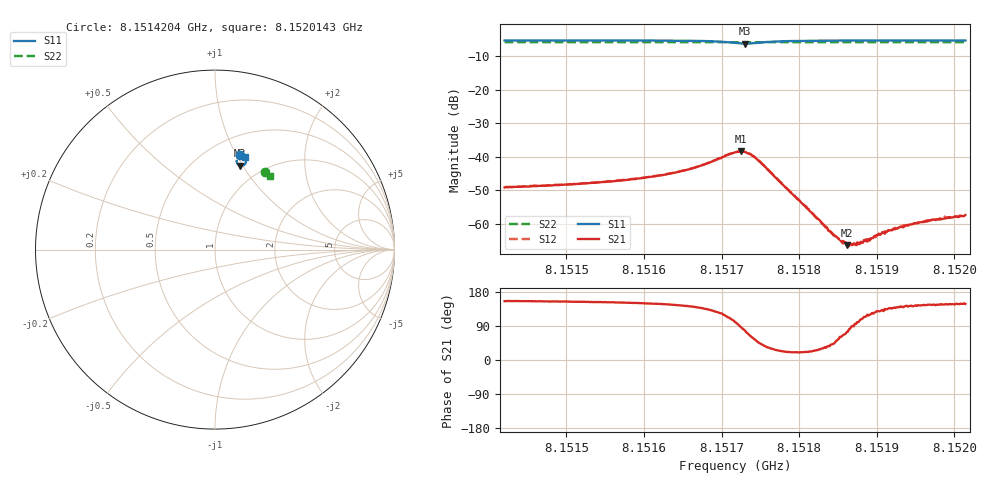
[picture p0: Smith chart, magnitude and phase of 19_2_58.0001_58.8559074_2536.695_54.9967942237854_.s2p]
#  HZ  S  RI  R  50.00
! Rohde & Schwarz Vector Network Analyzer
! Rohde-Schwarz,ZNB20-2Port,1311601062101988,3.16
! Created: UTC 3/21/2024, 12:51:06 AM
! freq[Hz]  re:S11  im:S11  re:S21  im:S21  re:S12  im:S12  re:S22  im:S22
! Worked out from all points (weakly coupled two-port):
!   401 points, 8.1514204 GHz to 8.1520143 GHz, reference 50 ohm
!   highest |S21| = -38.40 dB at 8.1517248 GHz (marker M1); lowest = -66.5 dB at 8.1518614 GHz (marker M2)
!   lowest |S11| = -6.2 dB at 8.1517307 GHz (marker M3), VSWR 2.91, Z = 39.7 + j48.8 ohm
!   |S11| at or under -10 dB: nowhere
!   |S22| runs from -5.8 to -5.8 dB; largest |S21 - S12| = 0.00031
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8.15142036e9  0.1374 0.5264  -0.00315 0.00146  -0.00319 0.0015  0.278 0.4324
8.15151985e9  0.1463 0.5237  -0.00356 0.00177  -0.00356 0.00185  0.2834 0.4286
8.15157776e9  0.1527 0.5211  -0.00395 0.00218  -0.00396 0.00226  0.2865 0.4266
8.15161934e9  0.1584 0.5183  -0.00444 0.00278  -0.00442 0.00286  0.2888 0.4249
8.15166537e9  0.1672 0.5105  -0.00525 0.00439  -0.00525 0.00454  0.2913 0.4226
8.15171734e9  0.1628 0.4729  -0.00208 0.0115  -0.00204 0.0115  0.2931 0.4196
8.15172477e9  0.1513 0.4677  0.000473 0.012  0.000603 0.012  0.2931 0.4194
8.15173071e9  0.14 0.4682  0.00278 0.0114  0.00291 0.0114  0.293 0.4194
8.15173962e9  0.1262 0.477  0.0053 0.0089  0.00539 0.00897  0.2928 0.4195
8.15174853e9  0.1206 0.4897  0.00608 0.00603  0.0061 0.0062  0.2936 0.4197
8.15181683e9  0.1421 0.5198  0.0013 0.000561  0.00133 0.000568  0.2981 0.4181
8.15184653e9  0.1481 0.5205  0.000437 0.000477  0.000436 0.000483  0.2999 0.4168
8.15185544e9  0.1497 0.5206  0.000234 0.000467  0.000247 0.000473  0.3002 0.4165
8.15186138e9  0.1507 0.5205  0.000131 0.000454  0.000141 0.000503  0.3007 0.4163
8.15187326e9  0.1523 0.5204  -4.15e-05 0.000477  -4.5e-05 0.000483  0.3013 0.4159
8.15188959e9  0.1545 0.5203  -0.00027 0.000521  -0.00026 0.000503  0.3022 0.4152
8.15189999e9  0.1556 0.5203  -0.000421 0.000527  -0.000392 0.000518  0.3027 0.4148
8.15190741e9  0.1565 0.5201  -0.000503 0.000553  -0.000481 0.000555  0.3032 0.4145
8.15191632e9  0.1577 0.5199  -0.000573 0.000544  -0.000519 0.000553  0.3037 0.4141
8.15193117e9  0.1593 0.5196  -0.000712 0.000568  -0.000681 0.000588  0.3043 0.4136
8.15195642e9  0.1618 0.5192  -0.000848 0.000618  -0.000846 0.000638  0.3057 0.4124
8.15201433e9  0.1672 0.518  -0.00114 0.000716  -0.00111 0.000705  0.3087 0.4102
